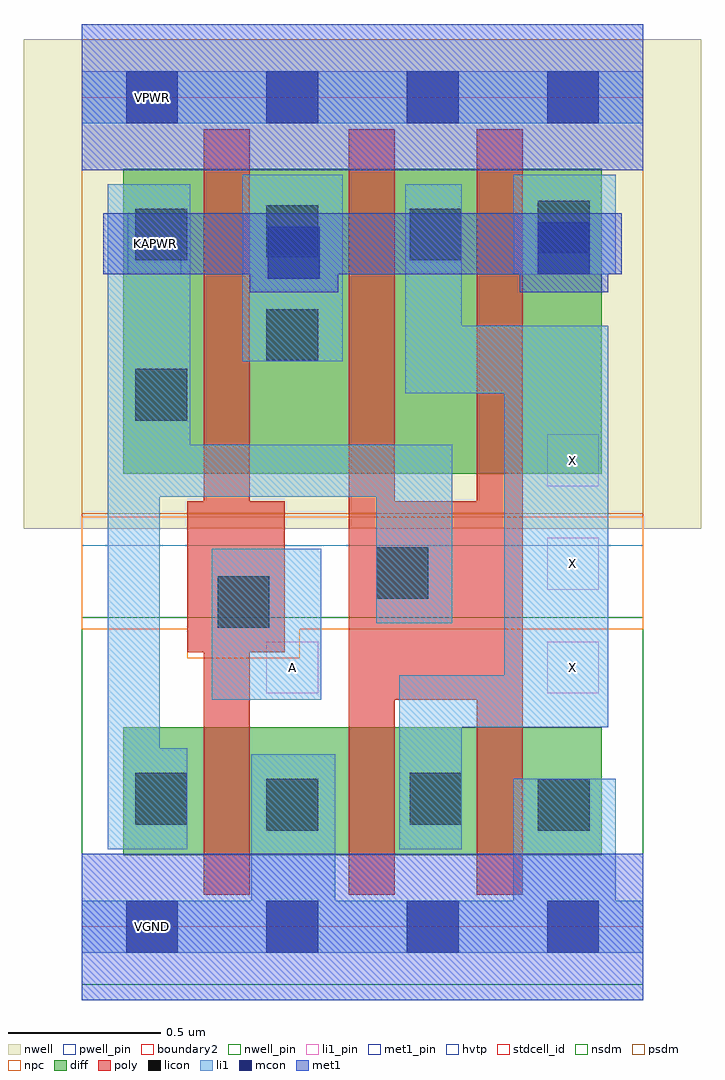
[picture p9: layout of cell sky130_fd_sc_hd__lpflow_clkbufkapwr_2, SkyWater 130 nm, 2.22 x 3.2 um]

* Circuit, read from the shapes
.subckt sky130_fd_sc_hd__lpflow_clkbufkapwr_2 A KAPWR VGND VNB VPB VPWR X
XM1 VGND A n1 VNB sky130_fd_pr__nfet_01v8 w=0.42 l=0.15
XM2 X n1 VGND VNB sky130_fd_pr__nfet_01v8 w=0.42 l=0.15 m=2
XM3 KAPWR A n1 VPB sky130_fd_pr__pfet_01v8_hvt w=1 l=0.15
XM4 X n1 KAPWR VPB sky130_fd_pr__pfet_01v8_hvt w=1 l=0.15 m=2
.ends

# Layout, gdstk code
import gdstk
lib = gdstk.Library(unit=1e-6, precision=1e-09)
def R(c, l, rs):  # rectangles x0, y0, x1, y1
    for r in rs: c.add(gdstk.rectangle(r[:2], r[2:], *l))
def A(c, l, x, y, w, h, nx, ny, dx, dy):  # array of equal rectangles
    R(c, l, [(x+i*dx, y+j*dy, x+i*dx+w, y+j*dy+h) for i in range(nx) for j in range(ny)])
def P(c, l, *ps):  # polygons
    for p in ps: c.add(gdstk.Polygon(p, *l))
nwell_pin = (64, 16)
nwell = (64, 20)
diff = (65, 20)
poly = (66, 20)
licon = (66, 44)
li1_pin = (67, 16)
li1 = (67, 20)
mcon = (67, 44)
met1_pin = (68, 16)
met1 = (68, 20)
hvtp = (78, 44)
stdcell_id = (81, 4)
nsdm = (93, 44)
psdm = (94, 20)
npc = (95, 20)
pwell_pin = (122, 16)
boundary2 = (236, 0)

sky130_fd_sc_hd__lpflow_ = lib.new_cell('sky130_fd_sc_hd__lpflow_clkbufkapwr_2')
R(sky130_fd_sc_hd__lpflow_, nwell_pin, [(0.145,2.635,0.315,2.805)])
R(sky130_fd_sc_hd__lpflow_, nwell, [(-0.19,1.305,2.03,2.91)])
R(sky130_fd_sc_hd__lpflow_, diff, [(0.135,0.235,1.705,0.655), (0.135,1.485,1.705,2.485)])
P(sky130_fd_sc_hd__lpflow_, poly, [(0.665,1.395),(0.55,1.395),(0.55,2.615),(0.4,2.615),(0.4,1.395),(0.345,1.395),(0.345,0.9),(0.4,0.9),(0.4,0.105),(0.55,0.105),(0.55,0.9),(0.665,0.9)],
  [(1.445,2.615),(1.295,2.615),(1.295,1.395),(1.025,1.395),(1.025,2.615),(0.875,2.615),(0.875,0.105),(1.025,0.105),(1.025,0.745),(1.295,0.745),(1.295,0.105),(1.445,0.105)])
R(sky130_fd_sc_hd__lpflow_, licon, [(0.605,0.315,0.775,0.485), (1.495,0.315,1.665,0.485), (0.175,0.335,0.345,0.505), (1.075,0.335,1.245,0.505), (0.445,0.98,0.615,1.15), (0.965,1.075,1.135,1.245), (0.175,1.66,0.345,1.83), (0.605,1.855,0.775,2.025), (0.175,2.185,0.345,2.355), (1.075,2.185,1.245,2.355), (0.605,2.195,0.775,2.365), (1.495,2.21,1.665,2.38)])
A(sky130_fd_sc_hd__lpflow_, li1_pin, 1.525, 0.765, 0.17, 0.17, 1, 3, 0, 0.34)
R(sky130_fd_sc_hd__lpflow_, li1_pin, [(0.605,0.765,0.775,0.935)])
R(sky130_fd_sc_hd__lpflow_, li1, [(0.425,0.745,0.785,1.24), (0.525,1.855,0.855,2.465), (1.415,2.14,1.75,2.465), (0,2.635,1.84,2.805)])
P(sky130_fd_sc_hd__lpflow_, li1, [(1.215,1.58),(0.355,1.58),(0.355,2.435),(0.085,2.435),(0.085,0.255),(0.345,0.255),(0.345,0.585),(0.255,0.585),(0.255,1.41),(0.965,1.41),(0.965,0.995),(1.215,0.995)],
  [(1.725,1.97),(1.245,1.97),(1.245,2.435),(1.06,2.435),(1.06,1.75),(1.385,1.75),(1.385,0.825),(1.04,0.825),(1.04,0.255),(1.245,0.255),(1.245,0.655),(1.725,0.655)],
  [(1.84,0.085),(1.75,0.085),(1.75,0.485),(1.415,0.485),(1.415,0.085),(0.83,0.085),(0.83,0.565),(0.555,0.565),(0.555,0.085),(0,0.085),(0,-0.085),(1.84,-0.085)])
A(sky130_fd_sc_hd__lpflow_, mcon, 0.145, -0.085, 0.17, 0.17, 4, 2, 0.46, 2.72)
R(sky130_fd_sc_hd__lpflow_, mcon, [(0.61,2.125,0.78,2.295), (1.495,2.14,1.665,2.31)])
R(sky130_fd_sc_hd__lpflow_, met1_pin, [(0.145,-0.085,0.315,0.085), (0.145,-0.085,0.315,0.085), (0.15,2.14,0.325,2.34), (0.145,2.635,0.315,2.805), (0.145,2.635,0.315,2.805)])
R(sky130_fd_sc_hd__lpflow_, met1, [(0,-0.24,1.84,0.24), (0,2.48,1.84,2.96)])
P(sky130_fd_sc_hd__lpflow_, met1, [(1.77,2.34),(0.07,2.34),(0.07,2.14),(0.55,2.14),(0.55,2.08),(0.84,2.08),(0.84,2.14),(1.435,2.14),(1.435,2.08),(1.725,2.08),(1.725,2.14),(1.77,2.14)])
R(sky130_fd_sc_hd__lpflow_, hvtp, [(0,1.25,1.84,2.72), (0,1.25,1.84,2.72), (0,1.25,1.84,2.72)])
R(sky130_fd_sc_hd__lpflow_, stdcell_id, [(0,0,1.84,2.72)])
R(sky130_fd_sc_hd__lpflow_, nsdm, [(0,-0.19,1.84,1.015)])
R(sky130_fd_sc_hd__lpflow_, psdm, [(0,1.355,1.84,2.91)])
P(sky130_fd_sc_hd__lpflow_, npc, [(1.84,1.345),(0,1.345),(0,0.975),(0.345,0.975),(0.345,0.88),(0.715,0.88),(0.715,0.975),(1.84,0.975)])
R(sky130_fd_sc_hd__lpflow_, pwell_pin, [(0.145,-0.085,0.315,0.085)])
R(sky130_fd_sc_hd__lpflow_, boundary2, [(0,0,1.84,2.72)])
sky130_fd_sc_hd__lpflow_.add(gdstk.Label('A', (0.69,0.85), layer=67, texttype=5))
sky130_fd_sc_hd__lpflow_.add(gdstk.Label('X', (1.61,1.19), layer=67, texttype=5))
sky130_fd_sc_hd__lpflow_.add(gdstk.Label('X', (1.61,0.85), layer=67, texttype=5))
sky130_fd_sc_hd__lpflow_.add(gdstk.Label('X', (1.61,1.53), layer=67, texttype=5))
sky130_fd_sc_hd__lpflow_.add(gdstk.Label('KAPWR', (0.24,2.24), layer=68, texttype=5))
sky130_fd_sc_hd__lpflow_.add(gdstk.Label('VGND', (0.23,0), layer=68, texttype=5))
sky130_fd_sc_hd__lpflow_.add(gdstk.Label('VPWR', (0.23,2.72), layer=68, texttype=5))
sky130_fd_sc_hd__lpflow_.add(gdstk.Label('VGND', (0.23,0), layer=68, texttype=5))
sky130_fd_sc_hd__lpflow_.add(gdstk.Label('VPWR', (0.23,2.72), layer=68, texttype=5))
sky130_fd_sc_hd__lpflow_.add(gdstk.Label('VPB', (0.23,2.72), layer=64, texttype=5))
sky130_fd_sc_hd__lpflow_.add(gdstk.Label('VNB', (0.23,0), layer=64, texttype=59))
sky130_fd_sc_hd__lpflow_.add(gdstk.Label('lpflow_clkbufkapwr_2', (0,0), layer=83, texttype=44))

lib.write_gds('sky130_fd_sc_hd__lpflow_clkbufkapwr_2.gds')
